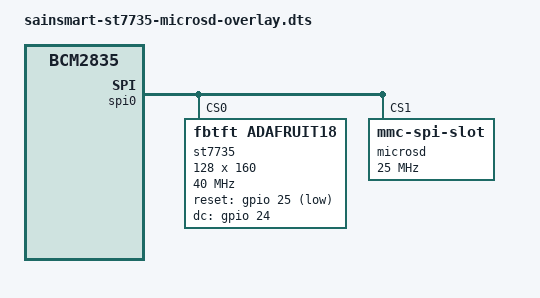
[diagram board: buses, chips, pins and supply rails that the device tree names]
/dts-v1/;
/plugin/;

/ {
    compatible = "brcm,bcm2835";

    fragment@0 {
        target = <&spidev0>;
        __overlay__ {
            status = "disabled";
        };
    };

    fragment@1 {
        target = <&spi0>;
        __overlay__ {
            #address-cells = <1>;
            #size-cells = <0>;
            status = "okay";

            /* ST7735 device on SPI0 using hardware CS (CE0) */
            st7735: st7735@0 {
                compatible = "fbtft,adafruit18";
                reg = <0>; /* CE0 */
                pinctrl-names = "default";
                spi-max-frequency = <40000000>;
                rotate = <0>;
                buswidth = <8>;
                fps = <50>;
                height = <160>;
                width = <128>;
                reset-gpios = <&gpio 25 1>; /* PIN22 */
                dc-gpios    = <&gpio 24 0>; /* PIN18 */
                debug = <0>;
            };

            /* microSD card on CE1 */
            microsd@1 {
                compatible = "mmc-spi-slot";
                reg = <1>; /* CE1 */
                spi-max-frequency = <25000000>;
                voltage-ranges = <3300 3300>;
                status = "okay";
            };
        };
    };

    __overrides__ {
        green  = <&st7735>,"compatible=fbtft,adafruit18_green";
        speed  = <&st7735>,"spi-max-frequency:0";
        rotate = <&st7735>,"rotate:0";
        fps    = <&st7735>,"fps:0";
        bgr    = <&st7735>,"bgr:0";
    };
};
